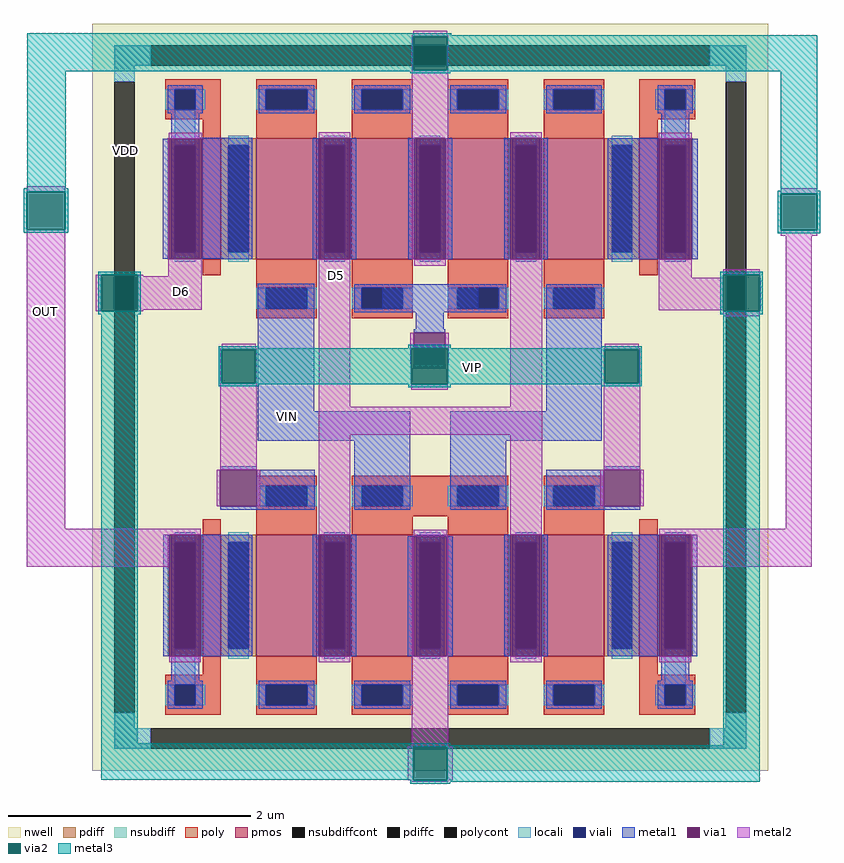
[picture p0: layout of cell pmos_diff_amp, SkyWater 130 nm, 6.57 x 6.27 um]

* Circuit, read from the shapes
.subckt pmos_diff_amp VDD VIN D6 D5 VIP OUT
XM1 OUT OUT OUT VDD sky130_fd_pr__pfet_01v8 w=1 l=0.15 m=2
XM2 D6 D6 D6 VDD sky130_fd_pr__pfet_01v8 w=1 l=0.15 m=2
XM3 D5 VIP OUT VDD sky130_fd_pr__pfet_01v8 w=1 l=0.5 m=4
XM4 D5 VIN D6 VDD sky130_fd_pr__pfet_01v8 w=1 l=0.5 m=4
.ends

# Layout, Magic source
magic
tech sky130A
magscale 1 2
<< nwell >>
rect -176 -743 938 489
<< nsubdiff >>
rect -140 419 -80 453
rect 842 419 902 453
rect -140 393 -106 419
rect 868 393 902 419
rect -140 -673 -106 -647
rect 868 -673 902 -647
rect -140 -707 -80 -673
rect 842 -707 902 -673
<< nsubdiffcont >>
rect -80 419 842 453
rect -140 -647 -106 393
rect 868 -647 902 393
rect -80 -707 842 -673
<< poly >>
rect -56 381 36 397
rect -56 347 -40 381
rect -6 347 36 381
rect -56 331 36 347
rect 6 300 36 331
rect 726 381 818 397
rect 726 347 768 381
rect 802 347 818 381
rect 726 331 818 347
rect 726 300 756 331
rect 352 -323 410 -257
rect 6 -585 36 -554
rect -56 -601 36 -585
rect -56 -635 -40 -601
rect -6 -635 36 -601
rect -56 -651 36 -635
rect 726 -585 756 -554
rect 726 -601 818 -585
rect 726 -635 768 -601
rect 802 -635 818 -601
rect 726 -651 818 -635
<< polycont >>
rect -40 347 -6 381
rect 768 347 802 381
rect -40 -635 -6 -601
rect 768 -635 802 -601
<< locali >>
rect -140 419 -80 453
rect 842 419 902 453
rect -140 393 -106 419
rect 868 393 902 419
rect -56 347 -40 381
rect -6 347 10 381
rect 752 347 768 381
rect 802 347 818 381
rect -40 288 -6 347
rect 768 288 802 347
rect -40 -601 -6 -542
rect 768 -601 802 -542
rect -56 -635 -40 -601
rect -6 -635 10 -601
rect 752 -635 768 -601
rect 802 -635 818 -601
rect -140 -673 -106 -647
rect 868 -673 902 -647
rect -140 -707 -80 -673
rect 842 -707 902 -673
<< viali >>
rect -40 347 -6 381
rect 768 347 802 381
rect -40 -635 -6 -601
rect 768 -635 802 -601
<< metal1 >>
rect -52 381 6 387
rect -52 347 -40 381
rect -6 347 6 381
rect -52 341 6 347
rect 756 381 814 387
rect 756 347 768 381
rect 802 347 814 381
rect 756 341 814 347
rect -46 301 0 341
rect -46 299 88 301
rect 762 300 808 341
rect -60 101 -50 299
rect 4 101 88 299
rect 187 100 197 300
rect 249 100 259 300
rect 345 100 355 300
rect 407 100 417 300
rect 503 100 513 300
rect 565 100 575 300
rect 674 299 808 300
rect 674 100 758 299
rect 812 100 822 299
rect 97 -150 190 60
rect 302 13 460 59
rect 357 -15 403 13
rect 354 -21 406 -15
rect 354 -79 406 -73
rect 572 -150 664 59
rect 97 -199 348 -150
rect 35 -247 95 -241
rect 95 -307 191 -247
rect 35 -313 191 -307
rect 256 -312 348 -199
rect 414 -199 664 -150
rect 414 -312 506 -199
rect 667 -247 727 -241
rect 572 -307 667 -247
rect 572 -313 727 -307
rect -59 -554 -49 -354
rect 3 -554 86 -354
rect 187 -554 197 -354
rect 249 -554 259 -354
rect 344 -554 354 -356
rect 408 -554 418 -356
rect 503 -554 513 -354
rect 565 -554 575 -354
rect 674 -554 759 -354
rect 811 -554 821 -354
rect -46 -595 0 -554
rect 762 -595 808 -554
rect -52 -601 6 -595
rect -52 -635 -40 -601
rect -6 -635 6 -601
rect -52 -641 6 -635
rect 756 -601 814 -595
rect 756 -635 768 -601
rect 802 -635 814 -601
rect 756 -641 814 -635
<< via1 >>
rect -50 101 4 299
rect 197 100 249 300
rect 355 100 407 300
rect 513 100 565 300
rect 758 100 812 299
rect 354 -73 406 -21
rect 35 -307 95 -247
rect 667 -307 727 -247
rect -49 -554 3 -354
rect 197 -554 249 -354
rect 354 -554 408 -356
rect 513 -554 565 -354
rect 759 -554 811 -354
<< metal2 >>
rect 353 470 409 477
rect 351 468 411 470
rect 351 412 353 468
rect 409 412 411 468
rect -50 299 4 309
rect -284 212 -221 221
rect -284 -344 -221 149
rect -51 101 -50 299
rect -170 15 -161 75
rect -101 72 -92 75
rect -51 72 4 101
rect -101 17 4 72
rect 197 300 249 310
rect 351 300 411 412
rect 351 100 355 300
rect 407 100 411 300
rect 513 300 565 310
rect 565 100 566 300
rect -101 15 -92 17
rect 37 -46 93 -39
rect 35 -48 95 -46
rect 35 -104 37 -48
rect 93 -104 95 -48
rect 35 -247 95 -104
rect 197 -143 249 100
rect 355 90 407 100
rect 348 -46 354 -21
rect 406 -46 412 -21
rect 348 -73 350 -46
rect 410 -73 412 -46
rect 350 -115 410 -106
rect 513 -143 566 100
rect 758 299 812 309
rect 959 208 1019 217
rect 959 139 1019 148
rect 758 70 812 100
rect 864 75 924 84
rect 758 16 864 70
rect 924 16 926 70
rect 864 6 924 15
rect 669 -46 725 -39
rect 197 -189 566 -143
rect 29 -307 35 -247
rect 95 -307 101 -247
rect -284 -354 3 -344
rect -284 -407 -49 -354
rect -49 -564 3 -554
rect 197 -354 249 -189
rect 513 -306 566 -189
rect 667 -48 727 -46
rect 667 -104 669 -48
rect 725 -104 727 -48
rect 667 -247 727 -104
rect 354 -355 408 -346
rect 513 -354 565 -306
rect 661 -307 667 -247
rect 727 -307 733 -247
rect 967 -344 1010 139
rect 197 -564 249 -554
rect 351 -356 411 -355
rect 351 -554 354 -356
rect 408 -554 411 -356
rect 351 -703 411 -554
rect 513 -564 565 -554
rect 759 -354 1010 -344
rect 811 -407 1010 -354
rect 759 -564 811 -554
rect 344 -759 353 -703
rect 409 -759 418 -703
rect 351 -761 411 -759
<< via2 >>
rect 353 412 409 468
rect -284 149 -221 212
rect -161 15 -101 75
rect 37 -104 93 -48
rect 350 -73 354 -46
rect 354 -73 406 -46
rect 406 -73 410 -46
rect 350 -106 410 -73
rect 959 148 1019 208
rect 864 15 924 75
rect 669 -104 725 -48
rect 353 -759 409 -703
<< metal3 >>
rect -283 470 416 473
rect -283 468 1019 470
rect -283 412 353 468
rect 409 412 1019 468
rect -283 410 1019 412
rect -283 217 -220 410
rect 348 407 414 410
rect -289 212 -216 217
rect 959 213 1019 410
rect -289 149 -284 212
rect -221 149 -216 212
rect -289 144 -216 149
rect 954 208 1024 213
rect 954 148 959 208
rect 1019 148 1024 208
rect 954 143 1024 148
rect -166 75 -96 80
rect -166 15 -161 75
rect -101 15 -96 75
rect -166 10 -96 15
rect 859 75 929 80
rect 859 15 864 75
rect 924 15 929 75
rect 859 10 929 15
rect -161 -698 -101 10
rect 32 -46 98 -43
rect 345 -46 415 -41
rect 664 -46 730 -43
rect 32 -48 350 -46
rect 32 -104 37 -48
rect 93 -104 350 -48
rect 32 -106 350 -104
rect 410 -48 730 -46
rect 410 -104 669 -48
rect 725 -104 730 -48
rect 410 -106 730 -104
rect 32 -109 98 -106
rect 345 -111 415 -106
rect 664 -109 730 -106
rect -161 -701 414 -698
rect 864 -701 924 10
rect -161 -703 924 -701
rect -161 -758 353 -703
rect 348 -759 353 -758
rect 409 -759 924 -703
rect 348 -761 924 -759
rect 348 -764 414 -761
use sky130_fd_pr__pfet_01v8_2XUZHN  sky130_fd_pr__pfet_01v8_2XUZHN_0
transform 1 0 741 0 1 200
box -109 -162 109 162
use sky130_fd_pr__pfet_01v8_2XUZHN  sky130_fd_pr__pfet_01v8_2XUZHN_1
transform 1 0 21 0 1 200
box -109 -162 109 162
use sky130_fd_pr__pfet_01v8_2XUZHN  sky130_fd_pr__pfet_01v8_2XUZHN_2
transform 1 0 21 0 1 -454
box -109 -162 109 162
use sky130_fd_pr__pfet_01v8_2XUZHN  sky130_fd_pr__pfet_01v8_2XUZHN_3
transform 1 0 741 0 1 -454
box -109 -162 109 162
use sky130_fd_pr__pfet_01v8_BH58Y6  sky130_fd_pr__pfet_01v8_BH58Y6_0
transform 1 0 381 0 1 -454
box -381 -200 381 200
use sky130_fd_pr__pfet_01v8_BH58Y6  sky130_fd_pr__pfet_01v8_BH58Y6_1
transform 1 0 381 0 1 200
box -381 -200 381 200
<< labels >>
flabel nsubdiffcont -121 279 -121 279 0 FreeSans 160 0 0 0 VDD
port 0 nsew
flabel metal1 145 -159 145 -159 0 FreeSans 160 0 0 0 VIN
port 1 nsew
flabel metal2 -29 47 -29 47 0 FreeSans 160 0 0 0 D6
port 2 nsew
flabel metal2 226 73 226 73 0 FreeSans 160 0 0 0 D5
port 3 nsew
flabel metal3 450 -78 450 -78 0 FreeSans 160 0 0 0 VIP
port 4 nsew
flabel metal2 -254 14 -254 14 0 FreeSans 160 0 0 0 OUT
port 5 nsew
<< end >>

# cell sky130_fd_pr__pfet_01v8_2XUZHN: kit device sky130_fd_pr__pfet_01v8, w 1 l 0.15 m 1 nf 1 diffcov 100 polycov 100 guard 0 glc 1 grc 1 gtc 1 gbc 1 tbcov 100 rlcov 100 topc 0 botc 0 poverlap 0 doverlap 1 lmin 0.15 wmin 0.42 compatible {sky130_fd_pr__pfet_01v8 sky130_fd_pr__pfet_01v8_lvt sky130_fd_pr__pfet_01v8_hvt sky130_fd_pr__pfet_g5v0d10v5} full_metal 1 viasrc 100 viadrn 100 viagate 100 viagb 0 viagr 0 viagl 0 viagt 0

# cell sky130_fd_pr__pfet_01v8_BH58Y6: kit device sky130_fd_pr__pfet_01v8, w 1 l 0.5 m 1 nf 4 diffcov 100 polycov 100 guard 0 glc 1 grc 1 gtc 1 gbc 1 tbcov 100 rlcov 100 topc 1 botc 1 poverlap 0 doverlap 1 lmin 0.15 wmin 0.42 compatible {sky130_fd_pr__pfet_01v8 sky130_fd_pr__pfet_01v8_lvt sky130_fd_pr__pfet_01v8_hvt sky130_fd_pr__pfet_g5v0d10v5} full_metal 1 viasrc 100 viadrn 100 viagate 100 viagb 0 viagr 0 viagl 0 viagt 0
